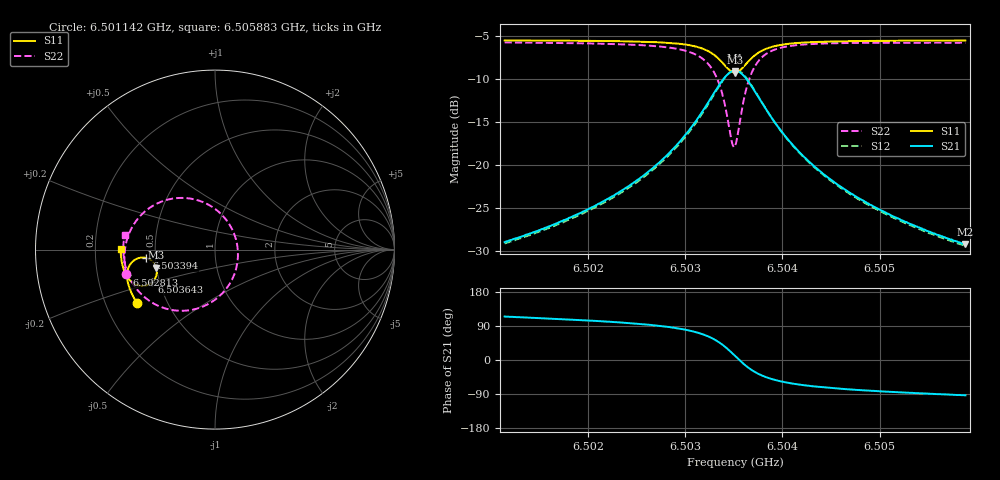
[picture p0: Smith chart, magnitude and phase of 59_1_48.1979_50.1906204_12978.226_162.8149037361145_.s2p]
#  HZ  S  RI  R  50.00
! Rohde & Schwarz Vector Network Analyzer
! Rohde-Schwarz,ZNB20-2Port,1311601062101988,3.16
! Created: UTC 3/20/2024, 11:38:41 AM
! freq[Hz]  re:S11  im:S11  re:S21  im:S21  re:S12  im:S12  re:S22  im:S22
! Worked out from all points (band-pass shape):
!   401 points, 6.501142 GHz to 6.505883 GHz, reference 50 ohm
!   highest |S21| = -9.09 dB at 6.503512 GHz (marker M1); lowest = -29.2 dB at 6.505883 GHz (marker M2)
!   |S21| within 3 dB of the highest: 6.503274 GHz to 6.503749 GHz (474.8 kHz wide, 0.0073 % of centre)
!   lowest |S11| = -9.3 dB at 6.503512 GHz (marker M3), VSWR 2.04, Z = 24.9 - j5.7 ohm
!   |S11| at or under -10 dB: nowhere
!   |S22| runs from -18.0 to -5.8 dB; largest |S21 - S12| = 0.012
!   S11 on the Smith chart (normalised r, x): 6.501142 GHz: 0.34, -0.28; 6.502813 GHz: 0.33, -0.13; 6.503394 GHz: 0.45, -0.05; 6.503643 GHz: 0.46, -0.20; 6.505883 GHz: 0.31, +0.00
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6.5011417e9  -0.4349 -0.2968  -0.0149 0.0322  -0.0129 0.0324  -0.4947 -0.1356
6.5019359e9  -0.4677 -0.2362  -0.0137 0.0511  -0.0114 0.0505  -0.5046 -0.0474
6.5023626e9  -0.482 -0.1972  -0.0108 0.0709  -0.00756 0.0696  -0.4995 0.0164
6.5027301e9  -0.4899 -0.1548  -0.000488 0.1026  0.00316 0.1001  -0.4766 0.0948
6.5028131e9  -0.4902 -0.143  0.00453 0.1134  0.00819 0.1104  -0.4657 0.1179
6.5030146e9  -0.4852 -0.109  0.0281 0.1492  0.0318 0.1446  -0.4161 0.1877
6.5031568e9  -0.4702 -0.0788  0.0672 0.1838  0.0699 0.1777  -0.3405 0.2475
6.5032991e9  -0.4307 -0.049  0.1523 0.2129  0.1527 0.2065  -0.1853 0.288
6.5033939e9  -0.3823 -0.047  0.247 0.1948  0.247 0.1902  -0.0212 0.2412
6.5034769e9  -0.3381 -0.0778  0.3274 0.1165  0.3299 0.1124  0.1071 0.0867
6.5035124e9  -0.327 -0.101  0.345 0.0661  0.349 0.0604  0.1277 -0.00887
6.5035361e9  -0.3241 -0.1179  0.3484 0.0299  0.3526 0.0231  0.1243 -0.0747
6.5035717e9  -0.3264 -0.1429  0.3402 -0.0217  0.3439 -0.031  0.0951 -0.1668
6.5036428e9  -0.3496 -0.1814  0.2913 -0.1003  0.2912 -0.1123  -0.0207 -0.2936
6.5037376e9  -0.3918 -0.2017  0.21 -0.1446  0.2049 -0.1551  -0.1863 -0.3409
6.5038087e9  -0.4187 -0.2016  0.1608 -0.1495  0.1539 -0.1578  -0.2784 -0.3274
6.5038917e9  -0.4424 -0.1943  0.119 -0.1433  0.1114 -0.1489  -0.3517 -0.2947
6.5040577e9  -0.4722 -0.1733  0.0696 -0.1215  0.0629 -0.124  -0.4319 -0.2252
6.5043066e9  -0.4951 -0.1421  0.0358 -0.0937  0.0306 -0.0942  -0.4807 -0.1454
6.504674e9  -0.5113 -0.1025  0.0154 -0.0681  0.012 -0.0677  -0.5045 -0.0667
6.5051008e9  -0.5205 -0.062  0.00546 -0.0512  0.00304 -0.0504  -0.5107 -0.0031
6.5058831e9  -0.526 0.00504  -0.00194 -0.0344  -0.00327 -0.0335  -0.504 0.0834
